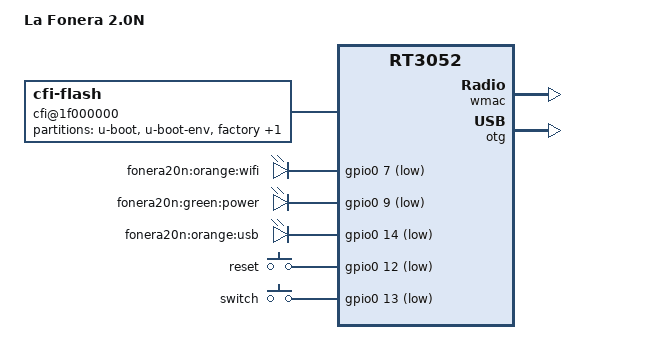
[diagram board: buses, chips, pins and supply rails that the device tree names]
/dts-v1/;

#include "rt3050.dtsi"

#include <dt-bindings/gpio/gpio.h>
#include <dt-bindings/input/input.h>

/ {
	compatible = "fon,fonera20n", "ralink,rt3052-soc";
	model = "La Fonera 2.0N";

	aliases {
		led-status = &led_power;
	};

	cfi@1f000000 {
		compatible = "cfi-flash";
		reg = <0x1f000000 0x800000>;
		bank-width = <2>;
		device-width = <2>;

		partitions {
			compatible = "fixed-partitions";
			#address-cells = <1>;
			#size-cells = <1>;

			partition@0 {
				label = "u-boot";
				reg = <0x0 0x30000>;
				read-only;
			};

			partition@30000 {
				label = "u-boot-env";
				reg = <0x30000 0x10000>;
				read-only;
			};

			factory: partition@40000 {
				label = "factory";
				reg = <0x40000 0x10000>;
				read-only;
			};

			partition@50000 {
				label = "firmware";
				reg = <0x50000 0x7b0000>;
			};
		};
	};

	gpio-leds {
		compatible = "gpio-leds";

		wifi {
			label = "fonera20n:orange:wifi";
			gpios = <&gpio0 7 GPIO_ACTIVE_LOW>;
		};

		led_power: power {
			label = "fonera20n:green:power";
			gpios = <&gpio0 9 GPIO_ACTIVE_LOW>;
		};

		usb {
			label = "fonera20n:orange:usb";
			gpios = <&gpio0 14 GPIO_ACTIVE_LOW>;
		};
	};

	gpio-keys-polled {
		compatible = "gpio-keys-polled";
		poll-interval = <20>;

		reset {
			label = "reset";
			gpios = <&gpio0 12 GPIO_ACTIVE_LOW>;
			linux,code = <KEY_RESTART>;
		};

		switch {
			label = "switch";
			gpios = <&gpio0 13 GPIO_ACTIVE_LOW>;
			linux,code = <KEY_RFKILL>;
			linux,input-type = <EV_SW>;
		};
	};
};

&pinctrl {
	state_default: pinctrl0 {
		gpio {
			ralink,group = "i2c", "spi", "jtag", "mdio", "rgmii", "uartf";
			ralink,function = "gpio";
		};
	};
};

&ethernet {
	mtd-mac-address = <&factory 0x28>;
};

&esw {
	#address-cells = <1>;
	#size-cells = <0>;

	mediatek,portmap = <0x2f>;

	port@0 {
		compatible = "swconfig,port";
		reg = <0>;
		swconfig,segment = "lan";
		swconfig,portmap = <0 4>;
	};

	port@1 {
		compatible = "swconfig,port";
		reg = <1>;
		swconfig,segment = "lan";
		swconfig,portmap = <1 3>;
	};

	port@2 {
		compatible = "swconfig,port";
		reg = <2>;
		swconfig,segment = "lan";
		swconfig,portmap = <2 2>;
	};

	port@3 {
		compatible = "swconfig,port";
		reg = <3>;
		swconfig,segment = "lan";
		swconfig,portmap = <3 1>;
	};

	port@4 {
		compatible = "swconfig,port";
		reg = <4>;
		swconfig,segment = "wan";
		swconfig,portmap = <4 0>;
	};
};

&wmac {
	ralink,mtd-eeprom = <&factory 0>;
};

&otg {
	status = "okay";
};
